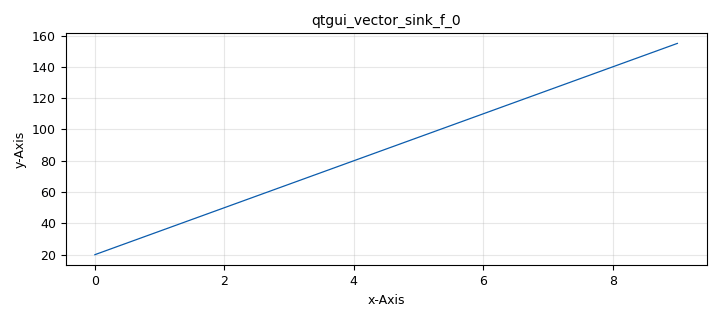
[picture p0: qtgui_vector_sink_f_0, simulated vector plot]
<?xml version='1.0' encoding='utf-8'?>
<?grc format='1' created='3.7.11'?>
<flow_graph>
<block>
<key>options</key>
<param><key>id</key><value>B6_fitting_chi2</value></param>
<param><key>generate_options</key><value>qt_gui</value></param>
<param><key>title</key><value>B6  Basic Chi-square-based Fitting</value></param>
</block>
<block>
<key>variable_qtgui_range</key>
<param><key>id</key><value>grad</value></param>
<param><key>value</key><value>15</value></param>
<param><key>gui_hint</key><value>0,0</value></param>
<param><key>label</key><value>Gradient</value></param>
<param><key>orient</key><value>Qt.Horizontal</value></param>
<param><key>start</key><value>1</value></param>
<param><key>step</key><value>0.5</value></param>
<param><key>stop</key><value>1000</value></param>
</block>
<block>
<key>variable</key>
<param><key>id</key><value>num_samples</value></param>
<param><key>value</key><value>10</value></param>
</block>
<block>
<key>variable_qtgui_range</key>
<param><key>id</key><value>offset</value></param>
<param><key>value</key><value>20</value></param>
<param><key>gui_hint</key><value>0,1</value></param>
<param><key>label</key><value>Offset</value></param>
<param><key>orient</key><value>Qt.Horizontal</value></param>
<param><key>start</key><value>1</value></param>
<param><key>step</key><value>0.5</value></param>
<param><key>stop</key><value>1000</value></param>
</block>
<block>
<key>variable</key>
<param><key>id</key><value>samp_rate</value></param>
<param><key>value</key><value>32000</value></param>
</block>
<block>
<key>blocks_add_const_vxx</key>
<param><key>id</key><value>blocks_add_const_vxx_0</value></param>
<param><key>const</key><value>offset</value></param>
<param><key>type</key><value>float</value></param>
</block>
<block>
<key>blocks_multiply_const_vxx</key>
<param><key>id</key><value>blocks_multiply_const_vxx_0</value></param>
<param><key>const</key><value>grad</value></param>
<param><key>type</key><value>float</value></param>
</block>
<block>
<key>blocks_null_sink</key>
<param><key>id</key><value>blocks_null_sink_0</value></param>
<param><key>bus_conns</key><value>[[0,],]</value></param>
<param><key>type</key><value>float</value></param>
<param><key>vlen</key><value>2</value></param>
</block>
<block>
<key>blocks_null_sink</key>
<param><key>id</key><value>blocks_null_sink_1</value></param>
<param><key>bus_conns</key><value>[[0,],]</value></param>
<param><key>type</key><value>float</value></param>
</block>
<block>
<key>blocks_null_sink</key>
<param><key>id</key><value>blocks_null_sink_2</value></param>
<param><key>bus_conns</key><value>[[0,],]</value></param>
<param><key>type</key><value>byte</value></param>
</block>
<block>
<key>blocks_stream_to_vector</key>
<param><key>id</key><value>blocks_stream_to_vector_0</value></param>
<param><key>type</key><value>float</value></param>
<param><key>num_items</key><value>10</value></param>
</block>
<block>
<key>blocks_throttle</key>
<param><key>id</key><value>blocks_throttle_0</value></param>
<param><key>samples_per_second</key><value>samp_rate</value></param>
<param><key>type</key><value>float</value></param>
<param><key>vlen</key><value>10</value></param>
</block>
<block>
<key>blocks_vector_source_x</key>
<param><key>id</key><value>blocks_vector_source_x_0</value></param>
<param><key>type</key><value>float</value></param>
<param><key>repeat</key><value>True</value></param>
<param><key>vector</key><value>(0,1,2,3,4,5,6,7,8,9)</value></param>
</block>
<block>
<key>blocks_vector_to_streams</key>
<param><key>id</key><value>blocks_vector_to_streams_0</value></param>
<param><key>type</key><value>float</value></param>
</block>
<block>
<key>digitizers_chi_square_fit</key>
<param><key>id</key><value>digitizers_chi_square_fit_0</value></param>
<param><key>fun_u</key><value>9</value></param>
<param><key>fun_l</key><value>0</value></param>
<param><key>function</key><value>[0]*x +1.0*[1]</value></param>
<param><key>chi_sq</key><value>0.001</value></param>
<param><key>num_params</key><value>2</value></param>
<param><key>num_samps</key><value>10</value></param>
<param><key>param_fit</key><value>True, True</value></param>
<param><key>param_err</key><value>0, 0</value></param>
<param><key>param_init</key><value>0, 0</value></param>
<param><key>par_names</key><value>gradient, offset</value></param>
<param><key>par_sp_l</key><value>-200, -600</value></param>
<param><key>par_sp_u</key><value>1500, 1500</value></param>
</block>
<block>
<key>qtgui_time_sink_x</key>
<param><key>id</key><value>qtgui_time_sink_x_0</value></param>
<param><key>autoscale</key><value>True</value></param>
<param><key>gui_hint</key><value>3,0,1,2</value></param>
<param><key>color1</key><value>"blue"</value></param>
<param><key>label1</key><value>Gradient</value></param>
<param><key>color2</key><value>"red"</value></param>
<param><key>label2</key><value>Offset</value></param>
<param><key>nconnections</key><value>2</value></param>
<param><key>size</key><value>1024</value></param>
<param><key>srate</key><value>samp_rate</value></param>
<param><key>type</key><value>float</value></param>
</block>
<block>
<key>qtgui_vector_sink_f</key>
<param><key>id</key><value>qtgui_vector_sink_f_0</value></param>
<param><key>autoscale</key><value>True</value></param>
<param><key>gui_hint</key><value>2,0,1,2</value></param>
<param><key>grid</key><value>True</value></param>
<param><key>showports</key><value>True</value></param>
<param><key>vlen</key><value>num_samples</value></param>
<param><key>x_start</key><value>0</value></param>
<param><key>x_step</key><value>1.0</value></param>
</block>
<connection><source_block_id>blocks_add_const_vxx_0</source_block_id><sink_block_id>blocks_stream_to_vector_0</sink_block_id><source_key>0</source_key><sink_key>0</sink_key></connection>
<connection><source_block_id>blocks_multiply_const_vxx_0</source_block_id><sink_block_id>blocks_add_const_vxx_0</sink_block_id><source_key>0</source_key><sink_key>0</sink_key></connection>
<connection><source_block_id>blocks_stream_to_vector_0</source_block_id><sink_block_id>blocks_throttle_0</sink_block_id><source_key>0</source_key><sink_key>0</sink_key></connection>
<connection><source_block_id>blocks_throttle_0</source_block_id><sink_block_id>digitizers_chi_square_fit_0</sink_block_id><source_key>0</source_key><sink_key>0</sink_key></connection>
<connection><source_block_id>blocks_throttle_0</source_block_id><sink_block_id>qtgui_vector_sink_f_0</sink_block_id><source_key>0</source_key><sink_key>0</sink_key></connection>
<connection><source_block_id>blocks_vector_source_x_0</source_block_id><sink_block_id>blocks_multiply_const_vxx_0</sink_block_id><source_key>0</source_key><sink_key>0</sink_key></connection>
<connection><source_block_id>blocks_vector_to_streams_0</source_block_id><sink_block_id>qtgui_time_sink_x_0</sink_block_id><source_key>0</source_key><sink_key>0</sink_key></connection>
<connection><source_block_id>blocks_vector_to_streams_0</source_block_id><sink_block_id>qtgui_time_sink_x_0</sink_block_id><source_key>1</source_key><sink_key>1</sink_key></connection>
<connection><source_block_id>digitizers_chi_square_fit_0</source_block_id><sink_block_id>blocks_null_sink_1</sink_block_id><source_key>2</source_key><sink_key>0</sink_key></connection>
<connection><source_block_id>digitizers_chi_square_fit_0</source_block_id><sink_block_id>blocks_null_sink_0</sink_block_id><source_key>1</source_key><sink_key>0</sink_key></connection>
<connection><source_block_id>digitizers_chi_square_fit_0</source_block_id><sink_block_id>blocks_null_sink_2</sink_block_id><source_key>3</source_key><sink_key>0</sink_key></connection>
<connection><source_block_id>digitizers_chi_square_fit_0</source_block_id><sink_block_id>blocks_vector_to_streams_0</sink_block_id><source_key>0</source_key><sink_key>0</sink_key></connection>
</flow_graph>
